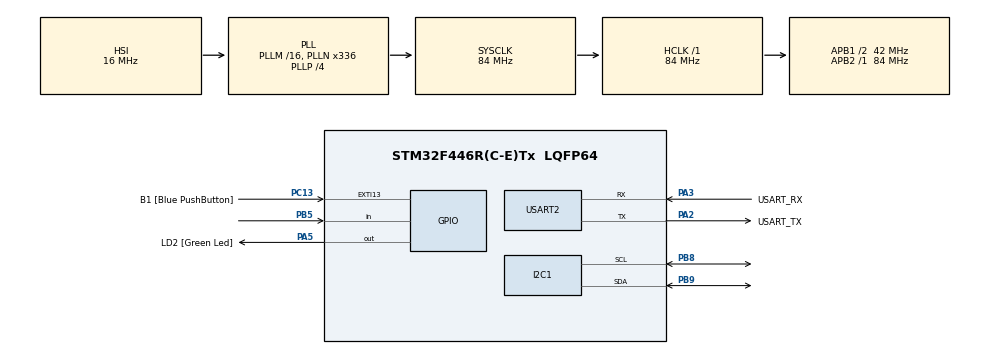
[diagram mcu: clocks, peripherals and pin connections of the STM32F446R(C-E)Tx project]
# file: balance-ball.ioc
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I2C1.I2C_Mode=I2C_Fast
Mcu.Family=STM32F4
Mcu.Name=STM32F446R(C-E)Tx
Mcu.Package=LQFP64
NVIC.PriorityGroup=NVIC_PRIORITYGROUP_0
PA13.GPIO_Label=TMS
PA13.Mode=Serial_Wire
PA13.Signal=SYS_JTMS-SWDIO
PA14.GPIO_Label=TCK
PA14.Mode=Serial_Wire
PA14.Signal=SYS_JTCK-SWCLK
PA2.GPIO_Label=USART_TX
PA2.Mode=Asynchronous
PA2.Signal=USART2_TX
PA3.GPIO_Label=USART_RX
PA3.Mode=Asynchronous
PA3.Signal=USART2_RX
PA5.GPIO_Label=LD2 [Green Led]
PA5.Signal=GPIO_Output
PB3.GPIO_Label=SWO
PB3.Signal=SYS_JTDO-SWO
PB5.Signal=GPIO_Input
PB8.Mode=I2C
PB8.Signal=I2C1_SCL
PB9.Mode=I2C
PB9.Signal=I2C1_SDA
PC13.GPIO_Label=B1 [Blue PushButton]
PC13.GPIO_ModeDefaultEXTI=GPIO_MODE_IT_FALLING
PC13.Signal=GPXTI13
PC14-OSC32_IN.Mode=LSE-External-Oscillator
PC14-OSC32_IN.Signal=RCC_OSC32_IN
PC15-OSC32_OUT.Mode=LSE-External-Oscillator
PC15-OSC32_OUT.Signal=RCC_OSC32_OUT
PH0-OSC_IN.Mode=HSE-External-Oscillator
PH0-OSC_IN.Signal=RCC_OSC_IN
PH1-OSC_OUT.Mode=HSE-External-Oscillator
PH1-OSC_OUT.Signal=RCC_OSC_OUT
ProjectManager.HeapSize=0x200
ProjectManager.StackSize=0x400
ProjectManager.TargetToolchain=STM32CubeIDE
RCC.48MHZClocksFreq_Value=84000000
RCC.AHBFreq_Value=84000000
RCC.APB1CLKDivider=RCC_HCLK_DIV2
RCC.APB1Freq_Value=42000000
RCC.APB1TimFreq_Value=84000000
RCC.APB2Freq_Value=84000000
RCC.APB2TimFreq_Value=84000000
RCC.CortexFreq_Value=84000000
RCC.FLatency-AdvancedSettings=FLASH_LATENCY_2
RCC.HCLKFreq_Value=84000000
RCC.HSE_VALUE=8000000
RCC.HSI_VALUE=16000000
RCC.PLLN=336
RCC.PLLP=RCC_PLLP_DIV4
RCC.SYSCLKFreq_VALUE=84000000
RCC.SYSCLKSource=RCC_SYSCLKSOURCE_PLLCLK
RCC.USBFreq_Value=168000000
RCC.VCOOutputFreq_Value=336000000
USART2.VirtualMode=VM_ASYNC
board=NUCLEO-F446RE

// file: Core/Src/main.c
/* USER CODE BEGIN Header */
/**
  ******************************************************************************
  * @file           : main.c
  * @brief          : Main program body
  ******************************************************************************
  * @attention
  *
  * Copyright (c) 2024 STMicroelectronics.
  * All rights reserved.
  *
  * This software is licensed under terms that can be found in the LICENSE file
  * in the root directory of this software component.
  * If no LICENSE file comes with this software, it is provided AS-IS.
  *
  ******************************************************************************
  */
/* USER CODE END Header */
#include "main.h"
#include "i2c.h"
#include "usart.h"
#include "gpio.h"

/* USER CODE BEGIN Includes */

#include "mpu6050.h"
#include <stdio.h>
#include <string.h>

/* USER CODE END Includes */

/* USER CODE BEGIN PTD */

int _write(int file, uint8_t* p, int len)
{
	if(HAL_UART_Transmit(&huart2, p, len, len) == HAL_OK)
	{
		return len;
	}
	return 0;
}

/* USER CODE END PTD */

void SystemClock_Config(void);

/* USER CODE BEGIN 0 */

char tx_buff[100];

/* USER CODE END 0 */

int main(void)
{

  /* MCU Configuration--------------------------------------------------------*/

  /* Reset of all peripherals, Initializes the Flash interface and the Systick. */
  HAL_Init();

  /* Configure the system clock */
  SystemClock_Config();

  /* Initialize all configured peripherals */
  MX_GPIO_Init();
  MX_USART2_UART_Init();
  MX_I2C1_Init();
  /* USER CODE BEGIN 2 */

  mpu6050_Init();

  /* USER CODE END 2 */

  /* Infinite loop */
  while (1)
  {

    /* USER CODE BEGIN 3 */

	  if(mpu6050_DataReady() == 1)
		{
		  	mpu6050_GetData(&mpu6050);
//		  	printf("%f, %f, %f\n", mpu6050.gyro_x, mpu6050.gyro_y, mpu6050.gyro_z);
			sprintf(tx_buff, "%f %f %f %f %f %f\n",
					mpu6050.gyro_x,
					mpu6050.gyro_y,
					mpu6050.gyro_z,
					mpu6050.accel_x,
					mpu6050.accel_y,
					mpu6050.accel_z);
			HAL_UART_Transmit(&huart2, (uint8_t*)tx_buff, strlen(tx_buff), 100);
//			HAL_Delay(100);

//			while(!USART2TransferCompleted);
//			HAL_UART_Transmit(&huart2, (uint8_t*)buff, sizeof(buff), 100);
		}
  }
  /* USER CODE END 3 */
}

void SystemClock_Config(void)
{
  RCC_OscInitTypeDef RCC_OscInitStruct = {0};
  RCC_ClkInitTypeDef RCC_ClkInitStruct = {0};

  /** Configure the main internal regulator output voltage
  */
  __HAL_RCC_PWR_CLK_ENABLE();
  __HAL_PWR_VOLTAGESCALING_CONFIG(PWR_REGULATOR_VOLTAGE_SCALE3);

  /** Initializes the RCC Oscillators according to the specified parameters
  * in the RCC_OscInitTypeDef structure.
  */
  RCC_OscInitStruct.OscillatorType = RCC_OSCILLATORTYPE_HSI;
  RCC_OscInitStruct.HSIState = RCC_HSI_ON;
  RCC_OscInitStruct.HSICalibrationValue = RCC_HSICALIBRATION_DEFAULT;
  RCC_OscInitStruct.PLL.PLLState = RCC_PLL_ON;
  RCC_OscInitStruct.PLL.PLLSource = RCC_PLLSOURCE_HSI;
  RCC_OscInitStruct.PLL.PLLM = 16;
  RCC_OscInitStruct.PLL.PLLN = 336;
  RCC_OscInitStruct.PLL.PLLP = RCC_PLLP_DIV4;
  RCC_OscInitStruct.PLL.PLLQ = 2;
  RCC_OscInitStruct.PLL.PLLR = 2;
  if (HAL_RCC_OscConfig(&RCC_OscInitStruct) != HAL_OK)
  {
    Error_Handler();
  }

  /** Initializes the CPU, AHB and APB buses clocks
  */
  RCC_ClkInitStruct.ClockType = RCC_CLOCKTYPE_HCLK|RCC_CLOCKTYPE_SYSCLK
                              |RCC_CLOCKTYPE_PCLK1|RCC_CLOCKTYPE_PCLK2;
  RCC_ClkInitStruct.SYSCLKSource = RCC_SYSCLKSOURCE_PLLCLK;
  RCC_ClkInitStruct.AHBCLKDivider = RCC_SYSCLK_DIV1;
  RCC_ClkInitStruct.APB1CLKDivider = RCC_HCLK_DIV2;
  RCC_ClkInitStruct.APB2CLKDivider = RCC_HCLK_DIV1;

  if (HAL_RCC_ClockConfig(&RCC_ClkInitStruct, FLASH_LATENCY_2) != HAL_OK)
  {
    Error_Handler();
  }
}

void Error_Handler(void)
{
  __disable_irq();
  while (1)
  {
  }
}
